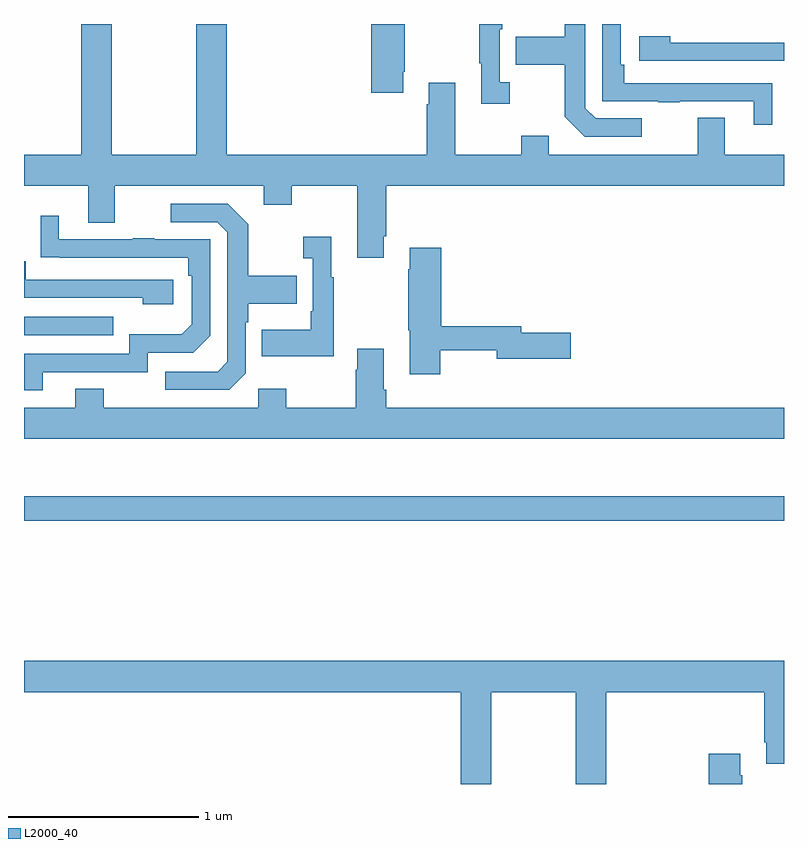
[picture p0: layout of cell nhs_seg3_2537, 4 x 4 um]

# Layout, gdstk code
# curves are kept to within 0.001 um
import gdstk
lib = gdstk.Library(unit=1e-6, precision=1e-09)
def R(c, l, rs):  # rectangles x0, y0, x1, y1
    for r in rs: c.add(gdstk.rectangle(r[:2], r[2:], *l))
def P(c, l, *ps):  # polygons
    for p in ps: c.add(gdstk.Polygon(p, *l))
L2000_40 = (2000, 40)

nhs_seg3_2537 = lib.new_cell('nhs_seg3_2537')
R(nhs_seg3_2537, L2000_40, [(241,733.786,245,733.915), (241,734.763,241.469,734.859)])
P(nhs_seg3_2537, L2000_40, [(241.301,736.4),(241.301,735.712),(241,735.712),(241,735.548),(241.337,735.548),(241.337,735.354),(241.477,735.354),(241.477,735.548),(242.261,735.548),(242.261,735.449),(242.409,735.449),(242.409,735.548),(242.753,735.548),(242.753,735.171),(242.893,735.171),(242.893,735.283),(242.906,735.283),(242.906,735.548),(245,735.548),(245,735.712),(244.687,735.712),(244.687,735.907),(244.547,735.907),(244.547,735.712),(243.763,735.712),(243.763,735.811),(243.616,735.811),(243.616,735.712),(243.271,735.712),(243.271,736.09),(243.131,736.09),(243.131,735.977),(243.119,735.977),(243.119,735.712),(242.066,735.712),(242.066,736.4),(241.906,736.4),(241.906,735.712),(241.461,735.712),(241.461,736.4)],
  [(242.995,736.15),(243.003,736.15),(243.003,736.4),(242.828,736.4),(242.828,736.038),(242.995,736.038)],
  [(244.937,736.088),(244.835,736.088),(244.835,736.089),(244.16,736.089),(244.16,736.186),(244.14,736.186),(244.14,736.4),(244.044,736.4),(244.044,735.993),(244.339,735.993),(244.339,735.988),(244.451,735.988),(244.451,735.993),(244.841,735.993),(244.841,735.87),(244.937,735.87)],
  [(243.556,736.094),(243.504,736.094),(243.504,736.373),(243.517,736.373),(243.517,736.4),(243.396,736.4),(243.396,736.193),(243.407,736.193),(243.407,735.981),(243.556,735.981)],
  [(244.252,735.903),(244.008,735.903),(243.954,735.957),(243.954,736.4),(243.846,736.4),(243.846,736.333),(243.589,736.333),(243.589,736.186),(243.846,736.186),(243.846,735.913),(243.951,735.807),(244.252,735.807)],
  [(245,736.302),(244.4,736.302),(244.4,736.336),(244.239,736.336),(244.239,736.206),(245,736.206)],
  [(242.166,734.562),(242.166,734.831),(242.179,734.831),(242.179,734.927),(242.435,734.927),(242.435,735.075),(242.179,735.075),(242.179,735.347),(242.073,735.453),(241.773,735.453),(241.773,735.357),(242.016,735.357),(242.07,735.303),(242.07,734.622),(242.019,734.571),(241.743,734.571),(241.743,734.475),(242.079,734.475)],
  [(241.099,734.568),(241.65,734.568),(241.65,734.67),(241.89,734.67),(241.98,734.76),(241.98,735.267),(241.685,735.267),(241.685,735.272),(241.573,735.272),(241.573,735.267),(241.183,735.267),(241.183,735.391),(241.087,735.391),(241.087,735.172),(241.864,735.171),(241.864,735.074),(241.884,735.074),(241.884,734.82),(241.831,734.767),(241.554,734.767),(241.554,734.664),(241,734.664),(241,734.472),(241.099,734.472)],
  [(242.629,735.067),(242.617,735.067),(242.617,735.28),(242.469,735.28),(242.469,735.167),(242.52,735.167),(242.52,734.887),(242.508,734.887),(242.508,734.791),(242.251,734.791),(242.251,734.651),(242.629,734.651)],
  [(243.192,734.682),(243.488,734.682),(243.488,734.639),(243.877,734.639),(243.877,734.774),(243.616,734.774),(243.616,734.81),(243.197,734.81),(243.197,735.223),(243.029,735.223),(243.029,735.11),(243.022,735.11),(243.022,734.787),(243.029,734.787),(243.029,734.556),(243.192,734.556)],
  [(241.786,735.054),(241.009,735.054),(241.009,735.151),(241,735.151),(241,734.958),(241.625,734.958),(241.625,734.924),(241.786,734.924)],
  [(245,734.38),(242.906,734.38),(242.906,734.476),(242.893,734.476),(242.893,734.692),(242.753,734.692),(242.753,734.579),(242.746,734.579),(242.746,734.38),(242.379,734.38),(242.379,734.479),(242.232,734.479),(242.232,734.38),(241.419,734.38),(241.419,734.479),(241.271,734.479),(241.271,734.38),(241,734.38),(241,734.216),(245,734.216)],
  [(243.459,732.884),(243.904,732.884),(243.904,732.4),(244.064,732.4),(244.064,732.884),(244.895,732.884),(244.895,732.619),(244.907,732.619),(244.907,732.507),(245,732.507),(245,733.048),(241,733.048),(241,732.884),(243.299,732.884),(243.299,732.4),(243.459,732.4)],
  [(244.779,732.446),(244.771,732.446),(244.771,732.559),(244.604,732.559),(244.604,732.4),(244.779,732.4)])

lib.write_gds('nhs_seg3_2537.gds')
